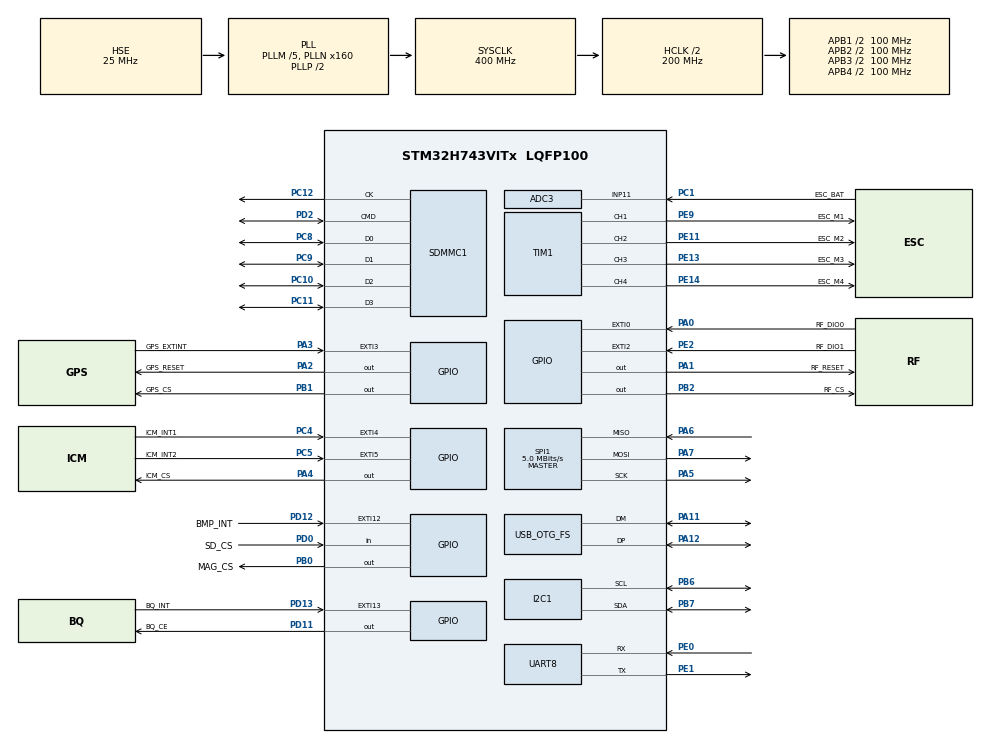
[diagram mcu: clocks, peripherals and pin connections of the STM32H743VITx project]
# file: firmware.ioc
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ADC3.Channel-1\#ChannelRegularConversion=ADC_CHANNEL_11
ADC3.NbrOfConversionFlag=1
ADC3.OffsetNumber-1\#ChannelRegularConversion=ADC_OFFSET_NONE
ADC3.OffsetSignedSaturation-1\#ChannelRegularConversion=DISABLE
ADC3.Rank-1\#ChannelRegularConversion=1
ADC3.Resolution=ADC_RESOLUTION_12B
ADC3.SamplingTime-1\#ChannelRegularConversion=ADC_SAMPLETIME_1CYCLE_5
CORTEX_M7.default_mode_Activation=1
I2C1.Timing=0x10C0ECFF
Mcu.Family=STM32H7
Mcu.Name=STM32H743VITx
Mcu.Package=LQFP100
NVIC.PriorityGroup=NVIC_PRIORITYGROUP_4
NVIC.TIM6_DAC_IRQn=true\:0\:0\:false\:false\:true\:true\:true\:true
PA0.GPIO_Label=RF_DIO0
PA0.Signal=GPXTI0
PA1.GPIO_Label=RF_RESET
PA1.PinState=GPIO_PIN_SET
PA1.Signal=GPIO_Output
PA11.Mode=Host_Only
PA11.Signal=USB_OTG_FS_DM
PA12.Mode=Host_Only
PA12.Signal=USB_OTG_FS_DP
PA2.GPIO_Label=GPS_RESET
PA2.PinState=GPIO_PIN_SET
PA2.Signal=GPIO_Output
PA3.GPIO_Label=GPS_EXTINT
PA3.Signal=GPXTI3
PA4.GPIO_Label=ICM_CS
PA4.GPIO_PuPd=GPIO_PULLUP
PA4.PinState=GPIO_PIN_SET
PA4.Signal=GPIO_Output
PA5.Mode=Full_Duplex_Master
PA5.Signal=SPI1_SCK
PA6.Mode=Full_Duplex_Master
PA6.Signal=SPI1_MISO
PA7.Mode=Full_Duplex_Master
PA7.Signal=SPI1_MOSI
PB0.GPIO_Label=MAG_CS
PB0.GPIO_PuPd=GPIO_PULLUP
PB0.PinState=GPIO_PIN_SET
PB0.Signal=GPIO_Output
PB1.GPIO_Label=GPS_CS
PB1.GPIO_PuPd=GPIO_PULLUP
PB1.PinState=GPIO_PIN_SET
PB1.Signal=GPIO_Output
PB2.GPIO_Label=RF_CS
PB2.GPIO_PuPd=GPIO_PULLUP
PB2.PinState=GPIO_PIN_SET
PB2.Signal=GPIO_Output
PB6.Mode=I2C
PB6.Signal=I2C1_SCL
PB7.Mode=I2C
PB7.Signal=I2C1_SDA
PC1.GPIO_Label=ESC_BAT
PC1.Signal=ADCx_INP11
PC10.Mode=SD_4_bits_Wide_bus
PC10.Signal=SDMMC1_D2
PC11.Mode=SD_4_bits_Wide_bus
PC11.Signal=SDMMC1_D3
PC12.Mode=SD_4_bits_Wide_bus
PC12.Signal=SDMMC1_CK
PC14-OSC32_IN\ (OSC32_IN).Mode=LSE-External-Oscillator
PC14-OSC32_IN\ (OSC32_IN).Signal=RCC_OSC32_IN
PC15-OSC32_OUT\ (OSC32_OUT).Mode=LSE-External-Oscillator
PC15-OSC32_OUT\ (OSC32_OUT).Signal=RCC_OSC32_OUT
PC4.GPIO_Label=ICM_INT1
PC4.Signal=GPXTI4
PC5.GPIO_Label=ICM_INT2
PC5.Signal=GPXTI5
PC8.Mode=SD_4_bits_Wide_bus
PC8.Signal=SDMMC1_D0
PC9.Mode=SD_4_bits_Wide_bus
PC9.Signal=SDMMC1_D1
PD0.GPIO_Label=SD_CS
PD0.Signal=GPIO_Input
PD11.GPIO_Label=BQ_CE
PD11.Signal=GPIO_Output
PD12.GPIO_Label=BMP_INT
PD12.Signal=GPXTI12
PD13.GPIO_Label=BQ_INT
PD13.Signal=GPXTI13
PD2.Mode=SD_4_bits_Wide_bus
PD2.Signal=SDMMC1_CMD
PE0.Mode=Asynchronous
PE0.Signal=UART8_RX
PE1.Mode=Asynchronous
PE1.Signal=UART8_TX
PE11.GPIO_Label=ESC_M2
PE11.GPIO_Speed=GPIO_SPEED_FREQ_HIGH
PE11.Signal=S_TIM1_CH2
PE13.GPIO_Label=ESC_M3
PE13.GPIO_Speed=GPIO_SPEED_FREQ_HIGH
PE13.Signal=S_TIM1_CH3
PE14.GPIO_Label=ESC_M4
PE14.GPIO_Speed=GPIO_SPEED_FREQ_HIGH
PE14.Signal=S_TIM1_CH4
PE2.GPIO_Label=RF_DIO1
PE2.Signal=GPXTI2
PE9.GPIO_Label=ESC_M1
PE9.GPIO_Speed=GPIO_SPEED_FREQ_HIGH
PE9.Signal=S_TIM1_CH1
PH0-OSC_IN\ (PH0).Mode=HSE-External-Oscillator
PH0-OSC_IN\ (PH0).Signal=RCC_OSC_IN
PH1-OSC_OUT\ (PH1).Mode=HSE-External-Oscillator
PH1-OSC_OUT\ (PH1).Signal=RCC_OSC_OUT
ProjectManager.HeapSize=0x200
ProjectManager.StackSize=0x400
ProjectManager.TargetToolchain=CMake
RCC.ADCCLockSelection=RCC_ADCCLKSOURCE_CLKP
RCC.ADCFreq_Value=64000000
RCC.APB1Freq_Value=100000000
RCC.APB2Freq_Value=100000000
RCC.APB3Freq_Value=100000000
RCC.APB4Freq_Value=100000000
RCC.CortexFreq_Value=400000000
RCC.D1PPRE=RCC_APB3_DIV2
RCC.D2PPRE1=RCC_APB1_DIV2
RCC.D2PPRE2=RCC_APB2_DIV2
RCC.D3PPRE=RCC_APB4_DIV2
RCC.DIVM1=5
RCC.DIVM2=5
RCC.DIVN1=160
RCC.DIVQ1=10
RCC.HCLKFreq_Value=200000000
RCC.HPRE=RCC_HCLK_DIV2
RCC.PLLSourceVirtual=RCC_PLLSOURCE_HSE
RCC.SYSCLKFreq_VALUE=400000000
RCC.SYSCLKSource=RCC_SYSCLKSOURCE_PLLCLK
RCC.USBCLockSelection=RCC_USBCLKSOURCE_HSI48
RCC.USBFreq_Value=48000000
SH.ADCx_INP11.0=ADC3_INP11,IN11-Single-Ended
SH.S_TIM1_CH1.0=TIM1_CH1,PWM Generation1 CH1
SH.S_TIM1_CH2.0=TIM1_CH2,PWM Generation2 CH2
SH.S_TIM1_CH3.0=TIM1_CH3,PWM Generation3 CH3
SH.S_TIM1_CH4.0=TIM1_CH4,PWM Generation4 CH4
SPI1.BaudRatePrescaler=SPI_BAUDRATEPRESCALER_16
SPI1.CalculateBaudRate=5.0 MBits/s
SPI1.Direction=SPI_DIRECTION_2LINES
SPI1.Mode=SPI_MODE_MASTER
SPI1.VirtualType=VM_MASTER
TIM1.Channel-PWM\ Generation1\ CH1=TIM_CHANNEL_1
TIM1.Channel-PWM\ Generation2\ CH2=TIM_CHANNEL_2
TIM1.Channel-PWM\ Generation3\ CH3=TIM_CHANNEL_3
TIM1.Channel-PWM\ Generation4\ CH4=TIM_CHANNEL_4
TIM6.Period=999
TIM6.Prescaler=199
USB_OTG_FS.VirtualMode=Host_Only
USB_OTG_FS.phy_itface=HCD_PHY_EMBEDDED
VP_MEMORYMAP_VS_MEMORYMAP.Mode=CurAppReg
VP_TIM1_VS_ClockSourceINT.Mode=Internal
VP_TIM6_VS_ClockSourceINT.Mode=Enable_Timer
board=custom

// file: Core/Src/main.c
/* USER CODE BEGIN Header */
/**
  ******************************************************************************
  * @file           : main.c
  * @brief          : Main program body
  ******************************************************************************
  * @attention
  *
  * Copyright (c) 2026 STMicroelectronics.
  * All rights reserved.
  *
  * This software is licensed under terms that can be found in the LICENSE file
  * in the root directory of this software component.
  * If no LICENSE file comes with this software, it is provided AS-IS.
  *
  ******************************************************************************
  */
/* USER CODE END Header */
#include "main.h"

/* USER CODE BEGIN Includes */
#include <iostream>
#include "lwgps/lwgps.h"
/* USER CODE END Includes */

/* USER CODE BEGIN PTD */
typedef struct {
  float accel_g[3];
  float gyro_dps[3];
  float temp_c;
} IMU_Data_t;

typedef struct {
  float mag_ut[3];
  float temp_c;
} MAG_Data_t;
/* USER CODE END PTD */

/* USER CODE BEGIN PD */
#define Baro_ADDR       (0x47 << 1)
#define Charger_ADDR    (0x6B << 1)

#define Baro_REG_PRESSURE_0   0x20
#define Baro_REG_TEMP_0       0x1D

#define Charger_REG_VCELL1      0x1A
#define Charger_REG_VCELL2      0x1C

#define IMU_REG_ACCEL_X1        0x00
#define IMU_PWR_MGMT0           0x10
#define IMU_ACCEL_CONFIG0       0x1B
#define IMU_GYRO_CONFIG0        0x1C
#define IMU_WHO_AM_I            0x72

#define ACCEL_CONVERSION        2048.0f
#define GYRO_CONVERSION         16.384f

#define MAG_WHO_AM_I            0x4F // Returns 0x40
#define OUTX_L_REG              0x68
#define MAG_CFG_REG_A           0x60
#define MAG_CFG_REG_B           0x61
#define MAG_CFG_REG_C           0x62

#define MAG_CONVERSION          0.15f
/* USER CODE END PD */

ADC_HandleTypeDef hadc3;

I2C_HandleTypeDef hi2c1;

SD_HandleTypeDef hsd1;

SPI_HandleTypeDef hspi1;

TIM_HandleTypeDef htim1;
TIM_HandleTypeDef htim6;

UART_HandleTypeDef huart8;

HCD_HandleTypeDef hhcd_USB_OTG_FS;

/* USER CODE BEGIN PV */
volatile uint8_t read_sensors_flag = 0;

uint8_t barometer_online = 0;
float pressure = 0.0f;
float temperature = 0.0f;

float cell1_voltage = 0.0f;
float cell2_voltage = 0.0f;

uint8_t bmp_buffer[3];
uint8_t bq_buffer[2];

IMU_Data_t imu_data;
uint8_t imu_online = 0;

MAG_Data_t mag_data;
uint8_t mag_online = 0;

const uint8_t ubx_cfg_rate_10hz[14] = {
    0xB5, 0x62,             // UBX Sync Header
    0x06, 0x08,             // Class: CFG (0x06), ID: RATE (0x08)
    0x06, 0x00,             // Payload Length: 6 bytes (Little-Endian)
    0x64, 0x00,             // measRate: 100 ms = 0x0064 -> 10 Hz (Little-Endian)
    0x01, 0x00,             // navRate: 1 cycle (must always be 1)
    0x01, 0x00,             // timeRef: 1 = GPS time (0 = UTC time)
    0x7A, 0x12              // Checksum: CK_A = 0x7A, CK_B = 0x12
};

lwgps_t gps_data;
/* USER CODE END PV */

void SystemClock_Config(void);
void PeriphCommonClock_Config(void);
static void MPU_Config(void);
static void MX_GPIO_Init(void);
static void MX_I2C1_Init(void);
static void MX_ADC3_Init(void);
static void MX_SDMMC1_SD_Init(void);
static void MX_SPI1_Init(void);
static void MX_TIM1_Init(void);
static void MX_UART8_Init(void);
static void MX_USB_OTG_FS_HCD_Init(void);
static void MX_TIM6_Init(void);
/* USER CODE BEGIN PFP */
uint8_t Barometer_Init(void);
void Read_Barometer(void);
void Read_Charger(void);

uint8_t IMU_Init(void);
void Read_IMU(IMU_Data_t *data);

uint8_t MAG_Init(void);
void Read_MAG(MAG_Data_t *data);

void GPS_Init(void);
void Read_GPS(lwgps_t *data);
/* USER CODE END PFP */

int main(void)
{

  /* MPU Configuration--------------------------------------------------------*/
  MPU_Config();

  /* MCU Configuration--------------------------------------------------------*/

  /* Reset of all peripherals, Initializes the Flash interface and the Systick. */
  HAL_Init();

  /* Configure the system clock */
  SystemClock_Config();

  /* Configure the peripherals common clocks */
  PeriphCommonClock_Config();

  /* Initialize all configured peripherals */
  MX_GPIO_Init();
  MX_I2C1_Init();
  MX_ADC3_Init();
  MX_SDMMC1_SD_Init();
  MX_SPI1_Init();
  MX_TIM1_Init();
  MX_UART8_Init();
  MX_USB_OTG_FS_HCD_Init();
  MX_TIM6_Init();
  /* USER CODE BEGIN 2 */
  barometer_online = Barometer_Init();

  imu_online = IMU_Init();
  mag_online = MAG_Init();

  lwgps_init(&gps_data);
  GPS_Init();

  HAL_TIM_Base_Start_IT(&htim6);
  /* USER CODE END 2 */

  /* Infinite loop */
  /* USER CODE BEGIN WHILE */
  while (1)
  {
    if (read_sensors_flag == 1)
    {
      read_sensors_flag = 0;

      // Read IMU
      if (imu_online)
      {
        Read_IMU(&imu_data);
      }

      static uint8_t tick = 0;
      tick++;

      switch (tick)
      {
        case 1:
          if (mag_online)
          {
            Read_MAG(&mag_data);
          }
          break;

        case 2:
          if (barometer_online)
          {
            Read_Barometer();
          }
          break;

        case 3:
          Read_Charger();
          break;

        case 4:
          Read_GPS(&gps_data);
          break;

        case 10:
          tick = 0;
          break;

        default:
          break;
      }
    }

    HAL_Delay(100);
    /* USER CODE END WHILE */

  }
}

void SystemClock_Config(void)
{
  RCC_OscInitTypeDef RCC_OscInitStruct = {0};
  RCC_ClkInitTypeDef RCC_ClkInitStruct = {0};

  /** Supply configuration update enable
  */
  HAL_PWREx_ConfigSupply(PWR_LDO_SUPPLY);

  /** Configure the main internal regulator output voltage
  */
  __HAL_PWR_VOLTAGESCALING_CONFIG(PWR_REGULATOR_VOLTAGE_SCALE1);

  while(!__HAL_PWR_GET_FLAG(PWR_FLAG_VOSRDY)) {}

  /** Initializes the RCC Oscillators according to the specified parameters
  * in the RCC_OscInitTypeDef structure.
  */
  RCC_OscInitStruct.OscillatorType = RCC_OSCILLATORTYPE_HSI48|RCC_OSCILLATORTYPE_HSI
                              |RCC_OSCILLATORTYPE_HSE;
  RCC_OscInitStruct.HSEState = RCC_HSE_ON;
  RCC_OscInitStruct.HSIState = RCC_HSI_DIV1;
  RCC_OscInitStruct.HSICalibrationValue = RCC_HSICALIBRATION_DEFAULT;
  RCC_OscInitStruct.HSI48State = RCC_HSI48_ON;
  RCC_OscInitStruct.PLL.PLLState = RCC_PLL_ON;
  RCC_OscInitStruct.PLL.PLLSource = RCC_PLLSOURCE_HSE;
  RCC_OscInitStruct.PLL.PLLM = 5;
  RCC_OscInitStruct.PLL.PLLN = 160;
  RCC_OscInitStruct.PLL.PLLP = 2;
  RCC_OscInitStruct.PLL.PLLQ = 10;
  RCC_OscInitStruct.PLL.PLLR = 2;
  RCC_OscInitStruct.PLL.PLLRGE = RCC_PLL1VCIRANGE_2;
  RCC_OscInitStruct.PLL.PLLVCOSEL = RCC_PLL1VCOWIDE;
  RCC_OscInitStruct.PLL.PLLFRACN = 0;
  if (HAL_RCC_OscConfig(&RCC_OscInitStruct) != HAL_OK)
  {
    Error_Handler();
  }

  /** Initializes the CPU, AHB and APB buses clocks
  */
  RCC_ClkInitStruct.ClockType = RCC_CLOCKTYPE_HCLK|RCC_CLOCKTYPE_SYSCLK
                              |RCC_CLOCKTYPE_PCLK1|RCC_CLOCKTYPE_PCLK2
                              |RCC_CLOCKTYPE_D3PCLK1|RCC_CLOCKTYPE_D1PCLK1;
  RCC_ClkInitStruct.SYSCLKSource = RCC_SYSCLKSOURCE_PLLCLK;
  RCC_ClkInitStruct.SYSCLKDivider = RCC_SYSCLK_DIV1;
  RCC_ClkInitStruct.AHBCLKDivider = RCC_HCLK_DIV2;
  RCC_ClkInitStruct.APB3CLKDivider = RCC_APB3_DIV2;
  RCC_ClkInitStruct.APB1CLKDivider = RCC_APB1_DIV2;
  RCC_ClkInitStruct.APB2CLKDivider = RCC_APB2_DIV2;
  RCC_ClkInitStruct.APB4CLKDivider = RCC_APB4_DIV2;

  if (HAL_RCC_ClockConfig(&RCC_ClkInitStruct, FLASH_LATENCY_2) != HAL_OK)
  {
    Error_Handler();
  }
}

void PeriphCommonClock_Config(void)
{
  RCC_PeriphCLKInitTypeDef PeriphClkInitStruct = {0};

  /** Initializes the peripherals clock
  */
  PeriphClkInitStruct.PeriphClockSelection = RCC_PERIPHCLK_CKPER;
  PeriphClkInitStruct.CkperClockSelection = RCC_CLKPSOURCE_HSI;
  if (HAL_RCCEx_PeriphCLKConfig(&PeriphClkInitStruct) != HAL_OK)
  {
    Error_Handler();
  }
}

static void MX_ADC3_Init(void)
{

  ADC_ChannelConfTypeDef sConfig = {0};

  /** Common config
  */
  hadc3.Instance = ADC3;
  hadc3.Init.ClockPrescaler = ADC_CLOCK_ASYNC_DIV1;
  hadc3.Init.ScanConvMode = ADC_SCAN_DISABLE;
  hadc3.Init.EOCSelection = ADC_EOC_SINGLE_CONV;
  hadc3.Init.LowPowerAutoWait = DISABLE;
  hadc3.Init.ContinuousConvMode = DISABLE;
  hadc3.Init.NbrOfConversion = 1;
  hadc3.Init.DiscontinuousConvMode = DISABLE;
  hadc3.Init.ExternalTrigConv = ADC_SOFTWARE_START;
  hadc3.Init.ExternalTrigConvEdge = ADC_EXTERNALTRIGCONVEDGE_NONE;
  hadc3.Init.ConversionDataManagement = ADC_CONVERSIONDATA_DR;
  hadc3.Init.Overrun = ADC_OVR_DATA_PRESERVED;
  hadc3.Init.LeftBitShift = ADC_LEFTBITSHIFT_NONE;
  hadc3.Init.OversamplingMode = DISABLE;
  hadc3.Init.Oversampling.Ratio = 1;
  if (HAL_ADC_Init(&hadc3) != HAL_OK)
  {
    Error_Handler();
  }
  hadc3.Init.Resolution = ADC_RESOLUTION_12B;
  if (HAL_ADC_Init(&hadc3) != HAL_OK)
  {
    Error_Handler();
  }

  /** Configure Regular Channel
  */
  sConfig.Channel = ADC_CHANNEL_11;
  sConfig.Rank = ADC_REGULAR_RANK_1;
  sConfig.SamplingTime = ADC_SAMPLETIME_1CYCLE_5;
  sConfig.SingleDiff = ADC_SINGLE_ENDED;
  sConfig.OffsetNumber = ADC_OFFSET_NONE;
  sConfig.Offset = 0;
  sConfig.OffsetSignedSaturation = DISABLE;
  if (HAL_ADC_ConfigChannel(&hadc3, &sConfig) != HAL_OK)
  {
    Error_Handler();
  }

}

static void MX_I2C1_Init(void)
{

  hi2c1.Instance = I2C1;
  hi2c1.Init.Timing = 0x10C0ECFF;
  hi2c1.Init.OwnAddress1 = 0;
  hi2c1.Init.AddressingMode = I2C_ADDRESSINGMODE_7BIT;
  hi2c1.Init.DualAddressMode = I2C_DUALADDRESS_DISABLE;
  hi2c1.Init.OwnAddress2 = 0;
  hi2c1.Init.OwnAddress2Masks = I2C_OA2_NOMASK;
  hi2c1.Init.GeneralCallMode = I2C_GENERALCALL_DISABLE;
  hi2c1.Init.NoStretchMode = I2C_NOSTRETCH_DISABLE;
  if (HAL_I2C_Init(&hi2c1) != HAL_OK)
  {
    Error_Handler();
  }

  /** Configure Analogue filter
  */
  if (HAL_I2CEx_ConfigAnalogFilter(&hi2c1, I2C_ANALOGFILTER_ENABLE) != HAL_OK)
  {
    Error_Handler();
  }

  /** Configure Digital filter
  */
  if (HAL_I2CEx_ConfigDigitalFilter(&hi2c1, 0) != HAL_OK)
  {
    Error_Handler();
  }

}

static void MX_SDMMC1_SD_Init(void)
{

  hsd1.Instance = SDMMC1;
  hsd1.Init.ClockEdge = SDMMC_CLOCK_EDGE_RISING;
  hsd1.Init.ClockPowerSave = SDMMC_CLOCK_POWER_SAVE_DISABLE;
  hsd1.Init.BusWide = SDMMC_BUS_WIDE_4B;
  hsd1.Init.HardwareFlowControl = SDMMC_HARDWARE_FLOW_CONTROL_DISABLE;
  hsd1.Init.ClockDiv = 0;
  if (HAL_SD_Init(&hsd1) != HAL_OK)
  {
    Error_Handler();
  }

}

static void MX_SPI1_Init(void)
{

  /* SPI1 parameter configuration*/
  hspi1.Instance = SPI1;
  hspi1.Init.Mode = SPI_MODE_MASTER;
  hspi1.Init.Direction = SPI_DIRECTION_2LINES;
  hspi1.Init.DataSize = SPI_DATASIZE_4BIT;
  hspi1.Init.CLKPolarity = SPI_POLARITY_LOW;
  hspi1.Init.CLKPhase = SPI_PHASE_1EDGE;
  hspi1.Init.NSS = SPI_NSS_SOFT;
  hspi1.Init.BaudRatePrescaler = SPI_BAUDRATEPRESCALER_16;
  hspi1.Init.FirstBit = SPI_FIRSTBIT_MSB;
  hspi1.Init.TIMode = SPI_TIMODE_DISABLE;
  hspi1.Init.CRCCalculation = SPI_CRCCALCULATION_DISABLE;
  hspi1.Init.CRCPolynomial = 0x0;
  hspi1.Init.NSSPMode = SPI_NSS_PULSE_ENABLE;
  hspi1.Init.NSSPolarity = SPI_NSS_POLARITY_LOW;
  hspi1.Init.FifoThreshold = SPI_FIFO_THRESHOLD_01DATA;
  hspi1.Init.TxCRCInitializationPattern = SPI_CRC_INITIALIZATION_ALL_ZERO_PATTERN;
  hspi1.Init.RxCRCInitializationPattern = SPI_CRC_INITIALIZATION_ALL_ZERO_PATTERN;
  hspi1.Init.MasterSSIdleness = SPI_MASTER_SS_IDLENESS_00CYCLE;
  hspi1.Init.MasterInterDataIdleness = SPI_MASTER_INTERDATA_IDLENESS_00CYCLE;
  hspi1.Init.MasterReceiverAutoSusp = SPI_MASTER_RX_AUTOSUSP_DISABLE;
  hspi1.Init.MasterKeepIOState = SPI_MASTER_KEEP_IO_STATE_DISABLE;
  hspi1.Init.IOSwap = SPI_IO_SWAP_DISABLE;
  if (HAL_SPI_Init(&hspi1) != HAL_OK)
  {
    Error_Handler();
  }

}

static void MX_TIM1_Init(void)
{

  TIM_ClockConfigTypeDef sClockSourceConfig = {0};
  TIM_MasterConfigTypeDef sMasterConfig = {0};
  TIM_OC_InitTypeDef sConfigOC = {0};
  TIM_BreakDeadTimeConfigTypeDef sBreakDeadTimeConfig = {0};

  htim1.Instance = TIM1;
  htim1.Init.Prescaler = 0;
  htim1.Init.CounterMode = TIM_COUNTERMODE_UP;
  htim1.Init.Period = 65535;
  htim1.Init.ClockDivision = TIM_CLOCKDIVISION_DIV1;
  htim1.Init.RepetitionCounter = 0;
  htim1.Init.AutoReloadPreload = TIM_AUTORELOAD_PRELOAD_DISABLE;
  if (HAL_TIM_Base_Init(&htim1) != HAL_OK)
  {
    Error_Handler();
  }
  sClockSourceConfig.ClockSource = TIM_CLOCKSOURCE_INTERNAL;
  if (HAL_TIM_ConfigClockSource(&htim1, &sClockSourceConfig) != HAL_OK)
  {
    Error_Handler();
  }
  if (HAL_TIM_PWM_Init(&htim1) != HAL_OK)
  {
    Error_Handler();
  }
  sMasterConfig.MasterOutputTrigger = TIM_TRGO_RESET;
  sMasterConfig.MasterOutputTrigger2 = TIM_TRGO2_RESET;
  sMasterConfig.MasterSlaveMode = TIM_MASTERSLAVEMODE_DISABLE;
  if (HAL_TIMEx_MasterConfigSynchronization(&htim1, &sMasterConfig) != HAL_OK)
  {
    Error_Handler();
  }
  sConfigOC.OCMode = TIM_OCMODE_PWM1;
  sConfigOC.Pulse = 0;
  sConfigOC.OCPolarity = TIM_OCPOLARITY_HIGH;
  sConfigOC.OCNPolarity = TIM_OCNPOLARITY_HIGH;
  sConfigOC.OCFastMode = TIM_OCFAST_DISABLE;
  sConfigOC.OCIdleState = TIM_OCIDLESTATE_RESET;
  sConfigOC.OCNIdleState = TIM_OCNIDLESTATE_RESET;
  if (HAL_TIM_PWM_ConfigChannel(&htim1, &sConfigOC, TIM_CHANNEL_1) != HAL_OK)
  {
    Error_Handler();
  }
  if (HAL_TIM_PWM_ConfigChannel(&htim1, &sConfigOC, TIM_CHANNEL_2) != HAL_OK)
  {
    Error_Handler();
  }
  if (HAL_TIM_PWM_ConfigChannel(&htim1, &sConfigOC, TIM_CHANNEL_3) != HAL_OK)
  {
    Error_Handler();
  }
  if (HAL_TIM_PWM_ConfigChannel(&htim1, &sConfigOC, TIM_CHANNEL_4) != HAL_OK)
  {
    Error_Handler();
  }
  sBreakDeadTimeConfig.OffStateRunMode = TIM_OSSR_DISABLE;
  sBreakDeadTimeConfig.OffStateIDLEMode = TIM_OSSI_DISABLE;
  sBreakDeadTimeConfig.LockLevel = TIM_LOCKLEVEL_OFF;
  sBreakDeadTimeConfig.DeadTime = 0;
  sBreakDeadTimeConfig.BreakState = TIM_BREAK_DISABLE;
  sBreakDeadTimeConfig.BreakPolarity = TIM_BREAKPOLARITY_HIGH;
  sBreakDeadTimeConfig.BreakFilter = 0;
  sBreakDeadTimeConfig.Break2State = TIM_BREAK2_DISABLE;
  sBreakDeadTimeConfig.Break2Polarity = TIM_BREAK2POLARITY_HIGH;
  sBreakDeadTimeConfig.Break2Filter = 0;
  sBreakDeadTimeConfig.AutomaticOutput = TIM_AUTOMATICOUTPUT_DISABLE;
  if (HAL_TIMEx_ConfigBreakDeadTime(&htim1, &sBreakDeadTimeConfig) != HAL_OK)
  {
    Error_Handler();
  }
  HAL_TIM_MspPostInit(&htim1);

}

static void MX_TIM6_Init(void)
{

  TIM_MasterConfigTypeDef sMasterConfig = {0};

  htim6.Instance = TIM6;
  htim6.Init.Prescaler = 199;
  htim6.Init.CounterMode = TIM_COUNTERMODE_UP;
  htim6.Init.Period = 999;
  htim6.Init.AutoReloadPreload = TIM_AUTORELOAD_PRELOAD_DISABLE;
  if (HAL_TIM_Base_Init(&htim6) != HAL_OK)
  {
    Error_Handler();
  }
  sMasterConfig.MasterOutputTrigger = TIM_TRGO_RESET;
  sMasterConfig.MasterSlaveMode = TIM_MASTERSLAVEMODE_DISABLE;
  if (HAL_TIMEx_MasterConfigSynchronization(&htim6, &sMasterConfig) != HAL_OK)
  {
    Error_Handler();
  }

}

static void MX_UART8_Init(void)
{

  huart8.Instance = UART8;
  huart8.Init.BaudRate = 115200;
  huart8.Init.WordLength = UART_WORDLENGTH_8B;
  huart8.Init.StopBits = UART_STOPBITS_1;
  huart8.Init.Parity = UART_PARITY_NONE;
  huart8.Init.Mode = UART_MODE_TX_RX;
  huart8.Init.HwFlowCtl = UART_HWCONTROL_NONE;
  huart8.Init.OverSampling = UART_OVERSAMPLING_16;
  huart8.Init.OneBitSampling = UART_ONE_BIT_SAMPLE_DISABLE;
  huart8.Init.ClockPrescaler = UART_PRESCALER_DIV1;
  huart8.AdvancedInit.AdvFeatureInit = UART_ADVFEATURE_NO_INIT;
  if (HAL_UART_Init(&huart8) != HAL_OK)
  {
    Error_Handler();
  }
  if (HAL_UARTEx_SetTxFifoThreshold(&huart8, UART_TXFIFO_THRESHOLD_1_8) != HAL_OK)
  {
    Error_Handler();
  }
  if (HAL_UARTEx_SetRxFifoThreshold(&huart8, UART_RXFIFO_THRESHOLD_1_8) != HAL_OK)
  {
    Error_Handler();
  }
  if (HAL_UARTEx_DisableFifoMode(&huart8) != HAL_OK)
  {
    Error_Handler();
  }

}

static void MX_USB_OTG_FS_HCD_Init(void)
{

  hhcd_USB_OTG_FS.Instance = USB_OTG_FS;
  hhcd_USB_OTG_FS.Init.Host_channels = 16;
  hhcd_USB_OTG_FS.Init.speed = HCD_SPEED_FULL;
  hhcd_USB_OTG_FS.Init.dma_enable = DISABLE;
  hhcd_USB_OTG_FS.Init.phy_itface = HCD_PHY_EMBEDDED;
  hhcd_USB_OTG_FS.Init.Sof_enable = DISABLE;
  if (HAL_HCD_Init(&hhcd_USB_OTG_FS) != HAL_OK)
  {
    Error_Handler();
  }

}

static void MX_GPIO_Init(void)
{
  GPIO_InitTypeDef GPIO_InitStruct = {0};

  /* GPIO Ports Clock Enable */
  __HAL_RCC_GPIOE_CLK_ENABLE();
  __HAL_RCC_GPIOC_CLK_ENABLE();
  __HAL_RCC_GPIOH_CLK_ENABLE();
  __HAL_RCC_GPIOA_CLK_ENABLE();
  __HAL_RCC_GPIOB_CLK_ENABLE();
  __HAL_RCC_GPIOD_CLK_ENABLE();

  /*Configure GPIO pin Output Level */
  HAL_GPIO_WritePin(GPIOA, RF_RESET_Pin|GPS_RESET_Pin|ICM_CS_Pin, GPIO_PIN_SET);

  /*Configure GPIO pin Output Level */
  HAL_GPIO_WritePin(GPIOB, MAG_CS_Pin|GPS_CS_Pin|RF_CS_Pin, GPIO_PIN_SET);

  /*Configure GPIO pin Output Level */
  HAL_GPIO_WritePin(BQ_CE_GPIO_Port, BQ_CE_Pin, GPIO_PIN_RESET);

  /*Configure GPIO pin : RF_DIO1_Pin */
  GPIO_InitStruct.Pin = RF_DIO1_Pin;
  GPIO_InitStruct.Mode = GPIO_MODE_IT_RISING;
  GPIO_InitStruct.Pull = GPIO_NOPULL;
  HAL_GPIO_Init(RF_DIO1_GPIO_Port, &GPIO_InitStruct);

  /*Configure GPIO pins : RF_DIO0_Pin GPS_EXTINT_Pin */
  GPIO_InitStruct.Pin = RF_DIO0_Pin|GPS_EXTINT_Pin;
  GPIO_InitStruct.Mode = GPIO_MODE_IT_RISING;
  GPIO_InitStruct.Pull = GPIO_NOPULL;
  HAL_GPIO_Init(GPIOA, &GPIO_InitStruct);

  /*Configure GPIO pins : RF_RESET_Pin GPS_RESET_Pin */
  GPIO_InitStruct.Pin = RF_RESET_Pin|GPS_RESET_Pin;
  GPIO_InitStruct.Mode = GPIO_MODE_OUTPUT_PP;
  GPIO_InitStruct.Pull = GPIO_NOPULL;
  GPIO_InitStruct.Speed = GPIO_SPEED_FREQ_LOW;
  HAL_GPIO_Init(GPIOA, &GPIO_InitStruct);

  /*Configure GPIO pin : ICM_CS_Pin */
  GPIO_InitStruct.Pin = ICM_CS_Pin;
  GPIO_InitStruct.Mode = GPIO_MODE_OUTPUT_PP;
  GPIO_InitStruct.Pull = GPIO_PULLUP;
  GPIO_InitStruct.Speed = GPIO_SPEED_FREQ_LOW;
  HAL_GPIO_Init(ICM_CS_GPIO_Port, &GPIO_InitStruct);

  /*Configure GPIO pins : ICM_INT1_Pin ICM_INT2_Pin */
  GPIO_InitStruct.Pin = ICM_INT1_Pin|ICM_INT2_Pin;
  GPIO_InitStruct.Mode = GPIO_MODE_IT_RISING;
  GPIO_InitStruct.Pull = GPIO_NOPULL;
  HAL_GPIO_Init(GPIOC, &GPIO_InitStruct);

  /*Configure GPIO pins : MAG_CS_Pin GPS_CS_Pin RF_CS_Pin */
  GPIO_InitStruct.Pin = MAG_CS_Pin|GPS_CS_Pin|RF_CS_Pin;
  GPIO_InitStruct.Mode = GPIO_MODE_OUTPUT_PP;
  GPIO_InitStruct.Pull = GPIO_PULLUP;
  GPIO_InitStruct.Speed = GPIO_SPEED_FREQ_LOW;
  HAL_GPIO_Init(GPIOB, &GPIO_InitStruct);

  /*Configure GPIO pin : BQ_CE_Pin */
  GPIO_InitStruct.Pin = BQ_CE_Pin;
  GPIO_InitStruct.Mode = GPIO_MODE_OUTPUT_PP;
  GPIO_InitStruct.Pull = GPIO_NOPULL;
  GPIO_InitStruct.Speed = GPIO_SPEED_FREQ_LOW;
  HAL_GPIO_Init(BQ_CE_GPIO_Port, &GPIO_InitStruct);

  /*Configure GPIO pins : BMP_INT_Pin BQ_INT_Pin */
  GPIO_InitStruct.Pin = BMP_INT_Pin|BQ_INT_Pin;
  GPIO_InitStruct.Mode = GPIO_MODE_IT_RISING;
  GPIO_InitStruct.Pull = GPIO_NOPULL;
  HAL_GPIO_Init(GPIOD, &GPIO_InitStruct);

  /*Configure GPIO pin : SD_CS_Pin */
  GPIO_InitStruct.Pin = SD_CS_Pin;
  GPIO_InitStruct.Mode = GPIO_MODE_INPUT;
  GPIO_InitStruct.Pull = GPIO_NOPULL;
  HAL_GPIO_Init(SD_CS_GPIO_Port, &GPIO_InitStruct);

  /*AnalogSwitch Config */
  HAL_SYSCFG_AnalogSwitchConfig(SYSCFG_SWITCH_PA1, SYSCFG_SWITCH_PA1_CLOSE);

}

/* USER CODE BEGIN 4 */
static HAL_StatusTypeDef BMP581_WriteReg(uint8_t reg, uint8_t val)
{
    return HAL_I2C_Mem_Write(&hi2c1, Baro_ADDR, reg, I2C_MEMADD_SIZE_8BIT, &val, 1, 10);
}

static HAL_StatusTypeDef BMP581_ReadRegs(uint8_t start_reg, uint8_t *buf, uint16_t len)
{
    return HAL_I2C_Mem_Read(&hi2c1, Baro_ADDR, start_reg, I2C_MEMADD_SIZE_8BIT, buf, len, 10);
}

uint8_t Barometer_Init(void)
{
    uint8_t chip_id = 0;

    // Issue a soft reset (0xB6) and wait 5 ms for NVM memory to reload
    BMP581_WriteReg(0x7E, 0xB6);
    HAL_Delay(5);

    // Verify I2C communication by reading CHIP_ID (0x01 -> returns 0x50)
    if (BMP581_ReadRegs(0x01, &chip_id, 1) != HAL_OK || chip_id != 0x50) {
        return 0; // Check I2C wiring, pull-ups, or 0x47 vs 0x46 SDO address
    }

    // Configure IIR Low-Pass Filter: Coeff 1 for Temp (0x01) & Coeff 1 for Press (0x08)
    BMP581_WriteReg(0x31, 0x09);

    // Enable Pressure (bit 6 = 0x40), Press OSR = 8x (bits 5:3 = 011 -> 0x18), Temp OSR = 1x (0x00)
    // Combined: 0x40 | 0x18 | 0x00 = 0x58 (conversion time ~4.5 ms, easily fits inside 100 Hz)
    BMP581_WriteReg(0x36, 0x58);

    // Set ODR = 100.2 Hz (bits 6:2 = 0x0A << 2 = 0x28) and Power Mode = Normal (bits 1:0 = 01)
    // Combined: 0x28 | 0x01 = 0x29 (bit 7 = 0 disables deep standby)
    BMP581_WriteReg(0x37, 0x29);
    HAL_Delay(10);

    return 1; // Initialization successful
}

void Read_Barometer(void)
{
  if (HAL_I2C_Mem_Read(&hi2c1, Baro_ADDR, Baro_REG_PRESSURE_0, I2C_MEMADD_SIZE_8BIT, bmp_buffer, 3, 100) == HAL_OK)
  {
    uint32_t raw_pressure = ((uint32_t)bmp_buffer[2] << 16) |
                            ((uint32_t)bmp_buffer[1] << 8) |
                            (uint32_t)bmp_buffer[0];

    pressure = (float)raw_pressure / 64.0f;
  }

  if (HAL_I2C_Mem_Read(&hi2c1, Baro_ADDR, Baro_REG_TEMP_0, I2C_MEMADD_SIZE_8BIT, bmp_buffer, 3, 100) == HAL_OK)
  {
    uint32_t raw_temp = ((int32_t)bmp_buffer[2] << 16) |
                        ((int32_t)bmp_buffer[1] << 8) |
                        (int32_t)bmp_buffer[0];

    if (raw_temp & 0x00800000) {
      raw_temp |= 0xFF000000;
    }

    temperature = (float)raw_temp / 65536.0f;
  }
}

void Read_Charger(void)
{
  if (HAL_I2C_Mem_Read(&hi2c1, Charger_ADDR, Charger_REG_VCELL1, I2C_MEMADD_SIZE_8BIT, bq_buffer, 2, 100) == HAL_OK)
  {
      uint16_t raw_vcell1 = ((uint16_t)bq_buffer[0] << 8) | bq_buffer[1];
      cell1_voltage = (float)raw_vcell1 / 1000.0f;
  }

  if (HAL_I2C_Mem_Read(&hi2c1, Charger_ADDR, Charger_REG_VCELL2, I2C_MEMADD_SIZE_8BIT, bq_buffer, 2, 100) == HAL_OK)
  {
      uint16_t raw_vcell2 = ((uint16_t)bq_buffer[0] << 8) | bq_buffer[1];
      cell2_voltage = (float)raw_vcell2 / 1000.0f;
  }
}

static void IMU_WriteReg(uint8_t reg, uint8_t val)
{
  uint8_t tx[2] = { reg & 0x7F, val }; // Bit 7 = 0 for SPI write
  HAL_GPIO_WritePin(ICM_CS_GPIO_Port, ICM_CS_Pin, GPIO_PIN_RESET);
  HAL_SPI_Transmit(&hspi1, tx, 2, 10);
  HAL_GPIO_WritePin(ICM_CS_GPIO_Port, ICM_CS_Pin, GPIO_PIN_SET);
}

static void IMU_ReadRegs(uint8_t start_reg, uint8_t *buf, uint16_t len)
{
    uint8_t tx = start_reg | 0x80; // Bit 7 = 1 for SPI read
    HAL_GPIO_WritePin(ICM_CS_GPIO_Port, ICM_CS_Pin, GPIO_PIN_RESET);
    HAL_SPI_Transmit(&hspi1, &tx, 1, 10);
    HAL_SPI_Receive(&hspi1, buf, len, 10);
    HAL_GPIO_WritePin(ICM_CS_GPIO_Port, ICM_CS_Pin, GPIO_PIN_SET);
}

uint8_t IMU_Init(void)
{
  uint8_t who_am_i = 0;

  HAL_GPIO_WritePin(ICM_CS_GPIO_Port, ICM_CS_Pin, GPIO_PIN_SET);
  HAL_Delay(10); // Give chip time to boot

  // Verify SPI comms (0x72 should return 0xE9)
  IMU_ReadRegs(IMU_WHO_AM_I, &who_am_i, 1);
  if (who_am_i != 0xE9)
  {
    return 0; // We have a problem
  }

  IMU_WriteReg(IMU_ACCEL_CONFIG0, 0x15);
  IMU_WriteReg(IMU_GYRO_CONFIG0, 0x15);
  IMU_WriteReg(IMU_PWR_MGMT0, 0x0F); // Enables low-noise mode for both accel and gyro

  HAL_Delay(50); // Give time for sensors to stabilize

  return 1; // Success
}

void Read_IMU(IMU_Data_t *data)
{
  uint8_t raw[14];

  IMU_ReadRegs(IMU_REG_ACCEL_X1, raw, 14);

  // Combine bytes in pairs to create 16-bit integers
  int16_t raw_ax = (int16_t)((raw[0] << 8) | raw[1]);
  int16_t raw_ay = (int16_t)((raw[2] << 8) | raw[3]);
  int16_t raw_az = (int16_t)((raw[4] << 8) | raw[5]);

  int16_t raw_gx = (int16_t)((raw[6] << 8) | raw[7]);
  int16_t raw_gy = (int16_t)((raw[8] << 8) | raw[9]);
  int16_t raw_gz = (int16_t)((raw[10] << 8) | raw[11]);

  int16_t raw_temp = (int16_t)((raw[12] << 8) | raw[13]);

  // Convert to physical units
  data->accel_g[0]  = (float)raw_ax / ACCEL_CONVERSION;
  data->accel_g[1]  = (float)raw_ay / ACCEL_CONVERSION;
  data->accel_g[2]  = (float)raw_az / ACCEL_CONVERSION;

  data->gyro_dps[0] = (float)raw_gx / GYRO_CONVERSION;
  data->gyro_dps[1] = (float)raw_gy / GYRO_CONVERSION;
  data->gyro_dps[2] = (float)raw_gz / GYRO_CONVERSION;

  // Temperature conversion formula from datasheet
  data->temp_c      = ((float)raw_temp / 128.0f) + 25.0f;
}

static void MAG_WriteReg(uint8_t reg, uint8_t val)
{
  uint8_t tx[2] = { reg & 0x7F, val }; // Bit 7 = 0 for SPI write
  HAL_GPIO_WritePin(MAG_CS_GPIO_Port, MAG_CS_Pin, GPIO_PIN_RESET);
  HAL_SPI_Transmit(&hspi1, tx, 2, 10);
  HAL_GPIO_WritePin(MAG_CS_GPIO_Port, MAG_CS_Pin, GPIO_PIN_SET);
}

static void MAG_ReadRegs(uint8_t start_reg, uint8_t *buf, uint16_t len)
{
  uint8_t tx = start_reg | 0x80; // Bit 7 = 1 for SPI read
  HAL_GPIO_WritePin(MAG_CS_GPIO_Port, MAG_CS_Pin, GPIO_PIN_RESET);
  HAL_SPI_Transmit(&hspi1, &tx, 1, 10);
  HAL_SPI_Receive(&hspi1, buf, len, 10);
  HAL_GPIO_WritePin(MAG_CS_GPIO_Port, MAG_CS_Pin, GPIO_PIN_SET);
}

uint8_t MAG_Init(void)
{
  uint8_t who_am_i = 0;

  HAL_GPIO_WritePin(MAG_CS_GPIO_Port, MAG_CS_Pin, GPIO_PIN_SET);
  HAL_Delay(10); // Give chip time to boot

  // Verify SPI comms (0x4F should return 0x40)
  IMU_ReadRegs(MAG_WHO_AM_I, &who_am_i, 1);
  if (who_am_i != 0x40)
  {
    return 0; // We have a problem
  }

  MAG_WriteReg(MAG_CFG_REG_C, 0x14);
  MAG_WriteReg(MAG_CFG_REG_A, 0x8c);
  MAG_WriteReg(MAG_CFG_REG_B, 0x03);

  HAL_Delay(50); // Give time for sensors to stabilize

  return 1; // Success
}

void Read_MAG(MAG_Data_t *data)
{
  uint8_t raw[8];

  MAG_ReadRegs(OUTX_L_REG, raw, 8);

  // Combine bytes in pairs to create 16-bit integers
  int16_t raw_x = (int16_t)((raw[0] << 8) | raw[1]);
  int16_t raw_y = (int16_t)((raw[2] << 8) | raw[3]);
  int16_t raw_z = (int16_t)((raw[4] << 8) | raw[5]);

  int16_t raw_temp = (int16_t)((raw[6] << 8) | raw[7]);

  // Convert to physical units
  data->mag_ut[0]   = (float)raw_x / MAG_CONVERSION;
  data->mag_ut[1]   = (float)raw_y / MAG_CONVERSION;
  data->mag_ut[2]   = (float)raw_z / MAG_CONVERSION;

  data->temp_c      = ((float)raw_temp / 8.0f) + 25.0f;
}

void GPS_Init(void)
{
  // Ensure GPS CS starts HIGH and give the NEO-M8U 100 ms after power-on to boot
  HAL_GPIO_WritePin(GPS_CS_GPIO_Port, GPS_CS_Pin, GPIO_PIN_SET);
  HAL_Delay(100);

  // Transmit the 14-byte UBX-CFG-RATE (10 Hz) packet over SPI
  HAL_GPIO_WritePin(GPS_CS_GPIO_Port, GPS_CS_Pin, GPIO_PIN_RESET);
  HAL_SPI_Transmit(&hspi1, (uint8_t *)ubx_cfg_rate_10hz, sizeof(ubx_cfg_rate_10hz), 10);
  HAL_GPIO_WritePin(GPS_CS_GPIO_Port, GPS_CS_Pin, GPIO_PIN_SET);

  // Give the GNSS engine a brief moment to apply the new rate
  HAL_Delay(20);
}

void Read_GPS(lwgps_t *data)
{
  uint8_t dummy_tx[64];
  uint8_t rx_buf[64];
  memset(dummy_tx, 0xFF, sizeof(dummy_tx));

  // Write 64 blank bytes while reading 64 bytes
  HAL_GPIO_WritePin(GPS_CS_GPIO_Port, GPS_CS_Pin, GPIO_PIN_RESET);
  HAL_SPI_TransmitReceive(&hspi1, (uint8_t *)dummy_tx, rx_buf, 64, 5);
  HAL_GPIO_WritePin(GPS_CS_GPIO_Port, GPS_CS_Pin, GPIO_PIN_SET);

  for (uint8_t i = 0; i < 64; i++)
  {
    if (rx_buf[i] != 0xFF)
    {
      lwgps_process(data, &rx_buf[i], 1);
    }
  }
}

void HAL_TIM_PeriodElapsedCallback(TIM_HandleTypeDef *htim)
{
  if (htim->Instance == TIM_CHANNEL_6)
  {
    read_sensors_flag = 1;
  }
}
/* USER CODE END 4 */

 /* MPU Configuration */

void MPU_Config(void)
{
  MPU_Region_InitTypeDef MPU_InitStruct = {0};

  /* Disables the MPU */
  HAL_MPU_Disable();

  /** Initializes and configures the Region and the memory to be protected
  */
  MPU_InitStruct.Enable = MPU_REGION_ENABLE;
  MPU_InitStruct.Number = MPU_REGION_NUMBER0;
  MPU_InitStruct.BaseAddress = 0x0;
  MPU_InitStruct.Size = MPU_REGION_SIZE_4GB;
  MPU_InitStruct.SubRegionDisable = 0x87;
  MPU_InitStruct.TypeExtField = MPU_TEX_LEVEL0;
  MPU_InitStruct.AccessPermission = MPU_REGION_NO_ACCESS;
  MPU_InitStruct.DisableExec = MPU_INSTRUCTION_ACCESS_DISABLE;
  MPU_InitStruct.IsShareable = MPU_ACCESS_SHAREABLE;
  MPU_InitStruct.IsCacheable = MPU_ACCESS_NOT_CACHEABLE;
  MPU_InitStruct.IsBufferable = MPU_ACCESS_NOT_BUFFERABLE;

  HAL_MPU_ConfigRegion(&MPU_InitStruct);
  /* Enables the MPU */
  HAL_MPU_Enable(MPU_PRIVILEGED_DEFAULT);

}

void Error_Handler(void)
{
  __disable_irq();
  while (1)
  {
  }
}
